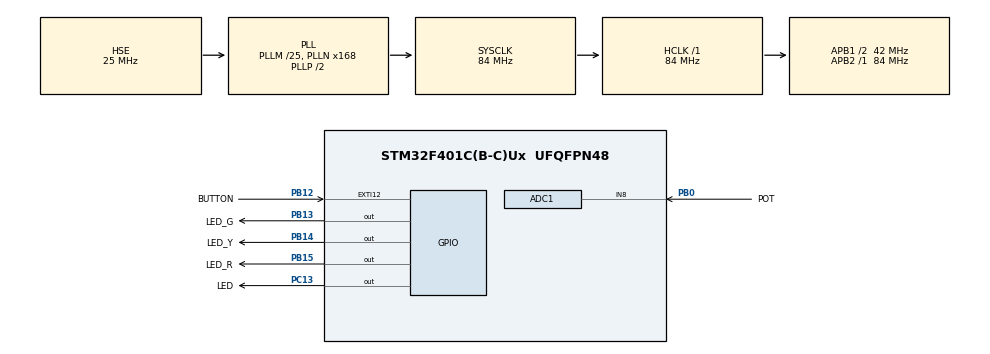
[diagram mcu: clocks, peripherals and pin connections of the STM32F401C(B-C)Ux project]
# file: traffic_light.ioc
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ADC1.Channel-0\#ChannelRegularConversion=ADC_CHANNEL_8
ADC1.ContinuousConvMode=ENABLE
ADC1.EOCSelection=ADC_EOC_SEQ_CONV
ADC1.NbrOfConversionFlag=1
ADC1.Rank-0\#ChannelRegularConversion=1
ADC1.SamplingTime-0\#ChannelRegularConversion=ADC_SAMPLETIME_3CYCLES
ADC1.master=1
Mcu.Family=STM32F4
Mcu.Name=STM32F401C(B-C)Ux
Mcu.Package=UFQFPN48
NVIC.EXTI15_10_IRQn=true\:0\:0\:false\:false\:true\:true\:true\:true
NVIC.PriorityGroup=NVIC_PRIORITYGROUP_4
NVIC.TIM1_BRK_TIM9_IRQn=true\:0\:0\:false\:false\:true\:true\:true\:true
PB0.GPIO_Label=POT
PB0.Signal=ADCx_IN8
PB12.GPIO_Label=BUTTON
PB12.GPIO_ModeDefaultEXTI=GPIO_MODE_IT_RISING
PB12.Signal=GPXTI12
PB13.GPIO_Label=LED_G
PB13.PinState=GPIO_PIN_SET
PB13.Signal=GPIO_Output
PB14.GPIO_Label=LED_Y
PB14.Signal=GPIO_Output
PB15.GPIO_Label=LED_R
PB15.PinState=GPIO_PIN_RESET
PB15.Signal=GPIO_Output
PC13-ANTI_TAMP.GPIO_Label=LED
PC13-ANTI_TAMP.PinState=GPIO_PIN_SET
PC13-ANTI_TAMP.Signal=GPIO_Output
PH0\ -\ OSC_IN.Mode=HSE-External-Oscillator
PH0\ -\ OSC_IN.Signal=RCC_OSC_IN
PH1\ -\ OSC_OUT.Mode=HSE-External-Oscillator
PH1\ -\ OSC_OUT.Signal=RCC_OSC_OUT
ProjectManager.HeapSize=0x200
ProjectManager.StackSize=0x400
ProjectManager.TargetToolchain=STM32CubeIDE
RCC.48MHZClocksFreq_Value=42000000
RCC.AHBFreq_Value=84000000
RCC.APB1CLKDivider=RCC_HCLK_DIV2
RCC.APB1Freq_Value=42000000
RCC.APB1TimFreq_Value=84000000
RCC.APB2Freq_Value=84000000
RCC.APB2TimFreq_Value=84000000
RCC.CortexFreq_Value=84000000
RCC.HCLKFreq_Value=84000000
RCC.HSE_VALUE=25000000
RCC.HSI_VALUE=16000000
RCC.LSE_VALUE=32768
RCC.PLLM=25
RCC.PLLN=168
RCC.PLLSourceVirtual=RCC_PLLSOURCE_HSE
RCC.SYSCLKFreq_VALUE=84000000
RCC.SYSCLKSource=RCC_SYSCLKSOURCE_PLLCLK
RCC.VCOOutputFreq_Value=168000000
SH.ADCx_IN8.0=ADC1_IN8,IN8
TIM9.AutoReloadPreload=TIM_AUTORELOAD_PRELOAD_DISABLE
TIM9.Period=64400-1
TIM9.Prescaler=60000-1
VP_TIM9_VS_ClockSourceINT.Mode=Internal
board=custom

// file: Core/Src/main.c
/* USER CODE BEGIN Header */
/**
  ******************************************************************************
  * @file           : main.c
  * @brief          : Main program body
  ******************************************************************************
  * @attention
  *
  * Copyright (c) 2022 STMicroelectronics.
  * All rights reserved.
  *
  * This software is licensed under terms that can be found in the LICENSE file
  * in the root directory of this software component.
  * If no LICENSE file comes with this software, it is provided AS-IS.
  *
  ******************************************************************************
  */
/* USER CODE END Header */
#include "main.h"

/* USER CODE BEGIN PTD */

/* NOTE: some TLS_D additional state can be added to the end, in which minimum green light delay can be done,
 * as with this states set you can press BUTTON right after green light was set without any cool down
 */
typedef enum {
	TLS_G, TLS_FGL0, TLS_FGH0, TLS_FGL1, TLS_FGH1,
	TLS_FGL2, TLS_FGH2, TLS_FGL3, TLS_FGH3, TLS_Y, TLS_R, TLS_YR
} TLState;

/* USER CODE END PTD */

/* USER CODE BEGIN PD */

/* on 84 MHz with clock prescaler 60000-1 gives 1400 tps
 * with up to 46 seconds (64400-1 ticks)
 */

/* 1s */
#define TL_MIN_DELAY 1399
/* 46s */
#define TL_VARIABLE_DELAY 64399
/* 250ms */
#define TL_FLICK_DELAY 349

#define TL_GPIO_Port GPIOB
/* USER CODE END PD */

ADC_HandleTypeDef hadc1;

TIM_HandleTypeDef htim9;

/* USER CODE BEGIN PV */

static TLState TL_state;

/* TL_delayTime =  TL_MIN_DELAY + pot * TL_VARIABLE_DELAY */
static uint16_t TL_delayTime;

/* USER CODE END PV */

void SystemClock_Config(void);
static void MX_GPIO_Init(void);
static void MX_ADC1_Init(void);
static void MX_TIM9_Init(void);

int main(void)
{

  /* MCU Configuration--------------------------------------------------------*/

  /* Reset of all peripherals, Initializes the Flash interface and the Systick. */
  HAL_Init();

  /* Configure the system clock */
  SystemClock_Config();

  /* Initialize all configured peripherals */
  MX_GPIO_Init();
  MX_ADC1_Init();
  MX_TIM9_Init();
  /* USER CODE BEGIN 2 */

  HAL_ADC_Start(&hadc1);

  /* USER CODE END 2 */

  /* Infinite loop */
  /* USER CODE BEGIN WHILE */
  while (1)
  {
	  /* useful and busy loop,
	   * so do not even think about disabling continuous mode on ADC1
	   * and moving this code to BUTTON interruption callback
	   */
	  HAL_ADC_PollForConversion(&hadc1, HAL_MAX_DELAY);
	  TL_delayTime = (TL_VARIABLE_DELAY * HAL_ADC_GetValue(&hadc1) / 4097) + TL_MIN_DELAY;

    /* USER CODE END WHILE */

  }
}

void SystemClock_Config(void)
{
  RCC_OscInitTypeDef RCC_OscInitStruct = {0};
  RCC_ClkInitTypeDef RCC_ClkInitStruct = {0};

  /** Configure the main internal regulator output voltage
  */
  __HAL_RCC_PWR_CLK_ENABLE();
  __HAL_PWR_VOLTAGESCALING_CONFIG(PWR_REGULATOR_VOLTAGE_SCALE2);

  /** Initializes the RCC Oscillators according to the specified parameters
  * in the RCC_OscInitTypeDef structure.
  */
  RCC_OscInitStruct.OscillatorType = RCC_OSCILLATORTYPE_HSE;
  RCC_OscInitStruct.HSEState = RCC_HSE_ON;
  RCC_OscInitStruct.PLL.PLLState = RCC_PLL_ON;
  RCC_OscInitStruct.PLL.PLLSource = RCC_PLLSOURCE_HSE;
  RCC_OscInitStruct.PLL.PLLM = 25;
  RCC_OscInitStruct.PLL.PLLN = 168;
  RCC_OscInitStruct.PLL.PLLP = RCC_PLLP_DIV2;
  RCC_OscInitStruct.PLL.PLLQ = 4;
  if (HAL_RCC_OscConfig(&RCC_OscInitStruct) != HAL_OK)
  {
    Error_Handler();
  }

  /** Initializes the CPU, AHB and APB buses clocks
  */
  RCC_ClkInitStruct.ClockType = RCC_CLOCKTYPE_HCLK|RCC_CLOCKTYPE_SYSCLK
                              |RCC_CLOCKTYPE_PCLK1|RCC_CLOCKTYPE_PCLK2;
  RCC_ClkInitStruct.SYSCLKSource = RCC_SYSCLKSOURCE_PLLCLK;
  RCC_ClkInitStruct.AHBCLKDivider = RCC_SYSCLK_DIV1;
  RCC_ClkInitStruct.APB1CLKDivider = RCC_HCLK_DIV2;
  RCC_ClkInitStruct.APB2CLKDivider = RCC_HCLK_DIV1;

  if (HAL_RCC_ClockConfig(&RCC_ClkInitStruct, FLASH_LATENCY_2) != HAL_OK)
  {
    Error_Handler();
  }
}

static void MX_ADC1_Init(void)
{

  ADC_ChannelConfTypeDef sConfig = {0};

  /** Configure the global features of the ADC (Clock, Resolution, Data Alignment and number of conversion)
  */
  hadc1.Instance = ADC1;
  hadc1.Init.ClockPrescaler = ADC_CLOCK_SYNC_PCLK_DIV4;
  hadc1.Init.Resolution = ADC_RESOLUTION_12B;
  hadc1.Init.ScanConvMode = DISABLE;
  hadc1.Init.ContinuousConvMode = ENABLE;
  hadc1.Init.DiscontinuousConvMode = DISABLE;
  hadc1.Init.ExternalTrigConvEdge = ADC_EXTERNALTRIGCONVEDGE_NONE;
  hadc1.Init.ExternalTrigConv = ADC_SOFTWARE_START;
  hadc1.Init.DataAlign = ADC_DATAALIGN_RIGHT;
  hadc1.Init.NbrOfConversion = 1;
  hadc1.Init.DMAContinuousRequests = DISABLE;
  hadc1.Init.EOCSelection = ADC_EOC_SEQ_CONV;
  if (HAL_ADC_Init(&hadc1) != HAL_OK)
  {
    Error_Handler();
  }

  /** Configure for the selected ADC regular channel its corresponding rank in the sequencer and its sample time.
  */
  sConfig.Channel = ADC_CHANNEL_8;
  sConfig.Rank = 1;
  sConfig.SamplingTime = ADC_SAMPLETIME_3CYCLES;
  if (HAL_ADC_ConfigChannel(&hadc1, &sConfig) != HAL_OK)
  {
    Error_Handler();
  }

}

static void MX_TIM9_Init(void)
{

  TIM_ClockConfigTypeDef sClockSourceConfig = {0};

  htim9.Instance = TIM9;
  htim9.Init.Prescaler = 60000-1;
  htim9.Init.CounterMode = TIM_COUNTERMODE_UP;
  htim9.Init.Period = 64400-1;
  htim9.Init.ClockDivision = TIM_CLOCKDIVISION_DIV1;
  htim9.Init.AutoReloadPreload = TIM_AUTORELOAD_PRELOAD_DISABLE;
  if (HAL_TIM_Base_Init(&htim9) != HAL_OK)
  {
    Error_Handler();
  }
  sClockSourceConfig.ClockSource = TIM_CLOCKSOURCE_INTERNAL;
  if (HAL_TIM_ConfigClockSource(&htim9, &sClockSourceConfig) != HAL_OK)
  {
    Error_Handler();
  }

}

static void MX_GPIO_Init(void)
{
  GPIO_InitTypeDef GPIO_InitStruct = {0};

  /* GPIO Ports Clock Enable */
  __HAL_RCC_GPIOC_CLK_ENABLE();
  __HAL_RCC_GPIOH_CLK_ENABLE();
  __HAL_RCC_GPIOB_CLK_ENABLE();

  /*Configure GPIO pin Output Level */
  HAL_GPIO_WritePin(LED_GPIO_Port, LED_Pin, GPIO_PIN_SET);

  /*Configure GPIO pin Output Level */
  HAL_GPIO_WritePin(LED_G_GPIO_Port, LED_G_Pin, GPIO_PIN_SET);

  /*Configure GPIO pin Output Level */
  HAL_GPIO_WritePin(GPIOB, LED_Y_Pin|LED_R_Pin, GPIO_PIN_RESET);

  /*Configure GPIO pin : LED_Pin */
  GPIO_InitStruct.Pin = LED_Pin;
  GPIO_InitStruct.Mode = GPIO_MODE_OUTPUT_PP;
  GPIO_InitStruct.Pull = GPIO_NOPULL;
  GPIO_InitStruct.Speed = GPIO_SPEED_FREQ_LOW;
  HAL_GPIO_Init(LED_GPIO_Port, &GPIO_InitStruct);

  /*Configure GPIO pin : BUTTON_Pin */
  GPIO_InitStruct.Pin = BUTTON_Pin;
  GPIO_InitStruct.Mode = GPIO_MODE_IT_RISING;
  GPIO_InitStruct.Pull = GPIO_NOPULL;
  HAL_GPIO_Init(BUTTON_GPIO_Port, &GPIO_InitStruct);

  /*Configure GPIO pins : LED_G_Pin LED_Y_Pin LED_R_Pin */
  GPIO_InitStruct.Pin = LED_G_Pin|LED_Y_Pin|LED_R_Pin;
  GPIO_InitStruct.Mode = GPIO_MODE_OUTPUT_PP;
  GPIO_InitStruct.Pull = GPIO_NOPULL;
  GPIO_InitStruct.Speed = GPIO_SPEED_FREQ_LOW;
  HAL_GPIO_Init(GPIOB, &GPIO_InitStruct);

  /* EXTI interrupt init*/
  HAL_NVIC_SetPriority(EXTI15_10_IRQn, 0, 0);
  HAL_NVIC_EnableIRQ(EXTI15_10_IRQn);

}

/* USER CODE BEGIN 4 */

/* while we use it in one place for particular setup just inline it */
static inline void iterateTLS(){
	uint16_t new_counter_period = TL_FLICK_DELAY;
	switch (++TL_state) {
		case TLS_FGL0:
		case TLS_FGH0:
		case TLS_FGL1:
		case TLS_FGH1:
		case TLS_FGL2:
		case TLS_FGH2:
		case TLS_FGL3:
		case TLS_FGH3:
			HAL_GPIO_TogglePin(TL_GPIO_Port, LED_G_Pin);
			break;
		case TLS_Y:
			HAL_GPIO_TogglePin(TL_GPIO_Port, LED_G_Pin | LED_Y_Pin);
			new_counter_period <<= 1;
			break;
		case TLS_R:
			HAL_GPIO_TogglePin(TL_GPIO_Port, LED_Y_Pin | LED_R_Pin);
			new_counter_period = TL_delayTime;
			break;
		case TLS_YR:
			HAL_GPIO_TogglePin(TL_GPIO_Port, LED_Y_Pin);
			new_counter_period <<= 1;
			break;
		default:
			HAL_GPIO_WritePin(TL_GPIO_Port, LED_Y_Pin | LED_R_Pin, GPIO_PIN_RESET);
			TL_state = 0;
		case TLS_G:
			HAL_GPIO_WritePin(TL_GPIO_Port, LED_G_Pin, GPIO_PIN_SET);
			HAL_TIM_Base_Stop_IT(&htim9);
			break;
	}
	__HAL_TIM_SET_AUTORELOAD(&htim9, new_counter_period);

}

void HAL_TIM_PeriodElapsedCallback(TIM_HandleTypeDef* htim)
{
  if(htim == &htim9){
	  iterateTLS();
  }
}

void HAL_GPIO_EXTI_Callback(uint16_t GPIO_Pin)
{
	if (GPIO_Pin == BUTTON_Pin && !TL_state){
		HAL_TIM_Base_Start_IT(&htim9);
	}
}

/* USER CODE END 4 */

void Error_Handler(void)
{
  __disable_irq();
  while (1)
  {
  }
}
